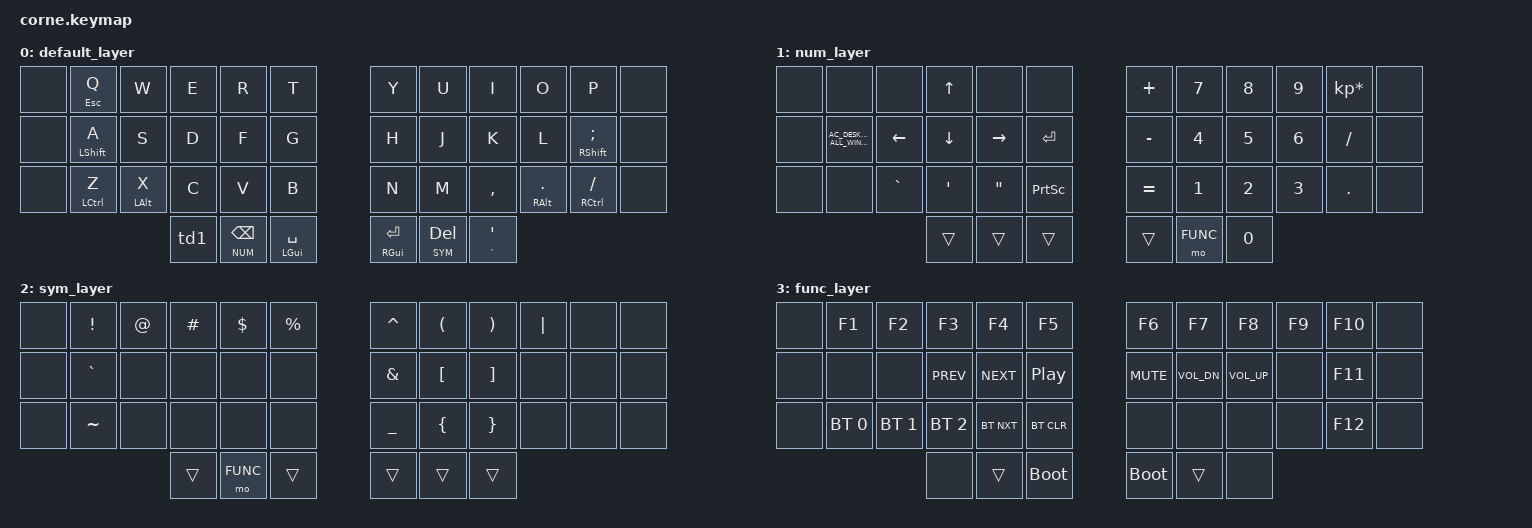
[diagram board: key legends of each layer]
/*
 * Copyright (c) 2020 The ZMK Contributors
 * SPDX-License-Identifier: MIT
 */

#include <dt-bindings/zmk/keys.h>
#include <dt-bindings/zmk/bt.h>
#include <dt-bindings/zmk/ext_power.h>
#include <behaviors.dtsi>

// LAYERS
#define DEFAULT 0
#define NUM     1
#define SYM     2
#define FUNC    3

// MACROS
#define SUPER LC(LSHIFT)
#define SUPER2 LA(LC(LSHIFT))

&mt {
  tapping-term-ms = <200>;
  flavor = "tap-preferred";
};

/ {
  behaviors {
    hm: homerow_mods {
      compatible = "zmk,behavior-hold-tap";
      label = "HOMEROW_MODS";
      #binding-cells = <2>;
      tapping-term-ms = <200>;
      quick-tap-ms = <0>;
      flavor = "tap-preferred";
      bindings = <&kp>, <&kp>;
    };

    td0: tap_dance_0 {
      compatible = "zmk,behavior-tap-dance";
      label = "TAP_DANCE_0";
      #binding-cells = <0>;
      tapping-term-ms = <200>;
      bindings = <&hm RGUI SEMI>, <&kp SQT>;
    };

    td1: tap_dance_1 {
      compatible = "zmk,behavior-tap-dance";
      label = "TAP_DANCE_1";
      #binding-cells = <0>;
      tapping-term-ms = <200>;
      bindings = <&mt LCTRL TAB>, <&kp ESC>;
    };
  };

  combos {
    compatible = "zmk,combos";
    combo_cword {
      timeout-ms = <50>;
      key-positions = <16 19>;
      bindings = <&caps_word>;
    };

    combo_vimwq {
      timeout-ms = <50>;
      key-positions = <1 2>;
      bindings = <&vim_quit>;
    };
  };

  macros {
        vim_quit: vim_quit {
            label = "ZM_vim_quit";
            compatible = "zmk,behavior-macro";
            #binding-cells = <0>;
            bindings
                = <&macro_tap &kp ESC &kp COLON &kp W &kp Q>;
        };
    };

  keymap {
    compatible = "zmk,keymap";

    default_layer {
      bindings = <

&none   /**/  &hm ESC Q       &kp W        &kp E       &kp R     &kp T   /**/  &kp Y    &kp U    &kp I       &kp O         &kp P            /**/  &none
&none   /**/  &hm LSHIFT A    &kp S        &kp D       &kp F     &kp G   /**/  &kp H    &kp J    &kp K       &kp L         &hm RSHIFT SEMI  /**/  &none
&none   /**/  &hm LCTRL Z     &hm LALT X   &kp C       &kp V     &kp B   /**/  &kp N    &kp M    &kp COMMA   &hm RALT DOT  &hm RCTRL FSLH   /**/  &none
                                      &td1  &lt NUM BSPC &mt LGUI SPACE  /**/  &mt RGUI RET &lt SYM DEL &mt GRAVE SQT

      >;
    };

    num_layer {
      bindings = <

&none   /**/  &none                               &none        &kp UP      &none        &none       /**/  &kp PLUS   &kp N7  &kp N8  &kp N9  &kp KP_MULTIPLY  /**/  &none
&none   /**/  &kp C_AC_DESKTOP_SHOW_ALL_WINDOWS   &kp LEFT     &kp DOWN    &kp RIGHT    &kp ENTER   /**/  &kp MINUS  &kp N4  &kp N5  &kp N6  &kp SLASH        /**/  &none
&none   /**/  &none                               &kp GRAVE    &kp SQT     &kp DQT      &kp PSCRN   /**/  &kp EQUAL  &kp N1  &kp N2  &kp N3  &kp DOT          /**/  &none
                                                                            &trans  &trans  &trans  /**/  &trans  &mo FUNC  &kp N0

      >;
    };

    sym_layer {
      bindings = <

&none   /**/  &kp EXCL    &kp AT         &kp HASH     &kp DLLR    &kp PRCNT   /**/  &kp CARET   &kp LPAR   &kp RPAR   &kp PIPE   &none      /**/  &none
&none   /**/  &kp GRAVE   &none          &none        &none       &none       /**/  &kp AMPS    &kp LBKT   &kp RBKT   &none      &none      /**/  &none
&none   /**/  &kp TILDE   &none          &none        &none       &none       /**/  &kp UNDER   &kp LBRC   &kp RBRC   &none      &none      /**/  &none
                                                      &trans &mo FUNC &trans  /**/  &trans &trans &trans

      >;
    };

    func_layer {
      bindings = <

&none   /**/  &kp F1          &kp F2          &kp F3          &kp F4     &kp F5            /**/  &kp F6          &kp F7       &kp F8       &kp F9   &kp F10  /**/  &none
&none   /**/  &none           &none           &kp C_PREV      &kp C_NEXT &kp C_PLAY_PAUSE  /**/  &kp C_MUTE      &kp C_VOL_DN &kp C_VOL_UP &none    &kp F11  /**/  &none
&none   /**/  &bt BT_SEL 0    &bt BT_SEL 1    &bt BT_SEL 2    &bt BT_NXT &bt BT_CLR        /**/  &none           &none        &none        &none    &kp F12  /**/  &none
                                                                &none &trans &bootloader  /**/  &bootloader &trans &none

      >;
    };
  };
};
